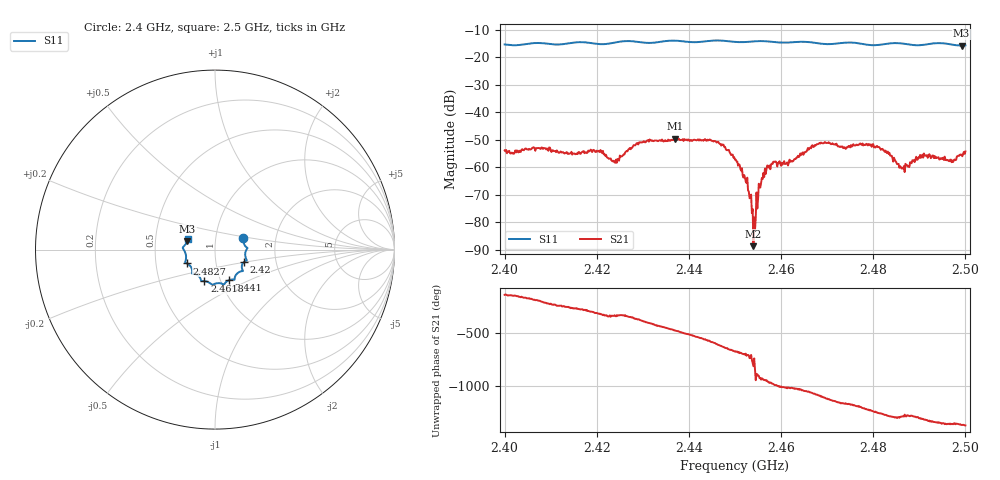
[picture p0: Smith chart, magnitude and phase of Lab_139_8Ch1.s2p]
# Hz S RI R 50
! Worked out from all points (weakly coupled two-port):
!   601 points, 2.4 GHz to 2.5 GHz, reference 50 ohm
!   highest |S21| = -49.67 dB at 2.437 GHz (marker M1); lowest = -88.7 dB at 2.454 GHz (marker M2)
!   lowest |S11| = -15.8 dB at 2.4992 GHz (marker M3), VSWR 1.39, Z = 36.4 + j3.65 ohm
!   |S11| at or under -10 dB: start of sweep to end of sweep
!   S12 and S22 are empty: the file has one direction only
!   S11 on the Smith chart (normalised r, x): 2.4 GHz: 1.36, +0.18; 2.42 GHz: 1.36, -0.20; 2.441 GHz: 1.10, -0.39; 2.4618 GHz: 0.84, -0.30; 2.4827 GHz: 0.72, -0.12; 2.5 GHz: 0.73, +0.09
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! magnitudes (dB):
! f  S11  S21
! 2.4 GHz  -15.4  -53.9
! 2.4167 GHz  -14.5  -54.7
! 2.42 GHz  -15.2  -54.0
! 2.4238 GHz  -14.7  -58.2
! 2.429 GHz  -14.5  -51.8
! 2.4333 GHz  -14.5  -50.5
! 2.437 GHz  -14.0  -49.7
! 2.441 GHz  -14.6  -50.0
! 2.446 GHz  -13.9  -51.0
! 2.45 GHz  -14.4  -57.3
! 2.4525 GHz  -14.5  -65.8
! 2.454 GHz  -14.3  -88.7
! 2.4557 GHz  -14.2  -65.7
! 2.457 GHz  -14.2  -59.4
! 2.4618 GHz  -14.6  -57.3
! 2.4667 GHz  -14.6  -52.2
! 2.4827 GHz  -15.2  -54.0
! 2.4833 GHz  -15.0  -55.2
! 2.4863 GHz  -15.0  -60.3
! 2.4907 GHz  -15.6  -55.5
! 2.4992 GHz  -15.8  -55.6
! 2.5 GHz  -15.7  -54.3
